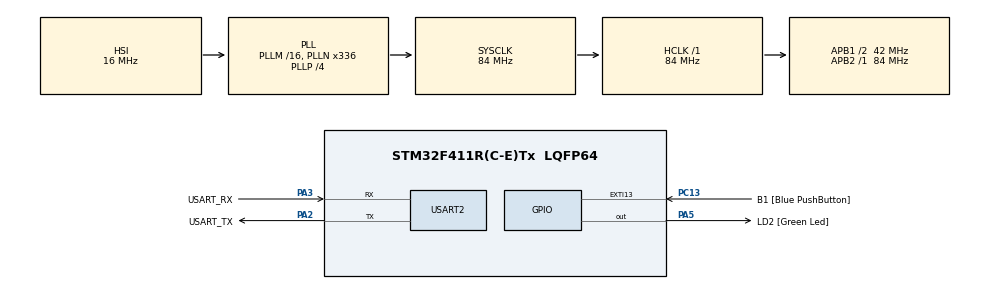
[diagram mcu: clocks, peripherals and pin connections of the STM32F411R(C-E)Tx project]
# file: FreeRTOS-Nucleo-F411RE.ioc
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Mcu.Family=STM32F4
Mcu.Name=STM32F411R(C-E)Tx
Mcu.Package=LQFP64
NVIC.PriorityGroup=NVIC_PRIORITYGROUP_4
PA13.GPIO_Label=TMS
PA13.Mode=Serial_Wire
PA13.Signal=SYS_JTMS-SWDIO
PA14.GPIO_Label=TCK
PA14.Mode=Serial_Wire
PA14.Signal=SYS_JTCK-SWCLK
PA2.GPIO_Label=USART_TX
PA2.Mode=Asynchronous
PA2.Signal=USART2_TX
PA3.GPIO_Label=USART_RX
PA3.Mode=Asynchronous
PA3.Signal=USART2_RX
PA5.GPIO_Label=LD2 [Green Led]
PA5.Signal=GPIO_Output
PB3.GPIO_Label=SWO
PB3.Signal=SYS_JTDO-SWO
PC13-ANTI_TAMP.GPIO_Label=B1 [Blue PushButton]
PC13-ANTI_TAMP.GPIO_ModeDefaultEXTI=GPIO_MODE_IT_FALLING
PC13-ANTI_TAMP.Signal=GPXTI13
PC14-OSC32_IN.Mode=LSE-External-Oscillator
PC14-OSC32_IN.Signal=RCC_OSC32_IN
PC15-OSC32_OUT.Mode=LSE-External-Oscillator
PC15-OSC32_OUT.Signal=RCC_OSC32_OUT
PH0\ -\ OSC_IN.Mode=HSE-External-Clock-Source
PH0\ -\ OSC_IN.Signal=RCC_OSC_IN
PH1\ -\ OSC_OUT.Mode=HSE-External-Clock-Source
PH1\ -\ OSC_OUT.Signal=RCC_OSC_OUT
ProjectManager.HeapSize=0x200
ProjectManager.StackSize=0x400
ProjectManager.TargetToolchain=STM32CubeIDE
RCC.48MHZClocksFreq_Value=84000000
RCC.AHBFreq_Value=84000000
RCC.APB1CLKDivider=RCC_HCLK_DIV2
RCC.APB1Freq_Value=42000000
RCC.APB1TimFreq_Value=84000000
RCC.APB2Freq_Value=84000000
RCC.APB2TimFreq_Value=84000000
RCC.CortexFreq_Value=84000000
RCC.FLatency-AdvancedSettings=FLASH_LATENCY_2
RCC.HCLKFreq_Value=84000000
RCC.HSE_VALUE=8000000
RCC.HSI_VALUE=16000000
RCC.PLLN=336
RCC.PLLP=RCC_PLLP_DIV4
RCC.SYSCLKFreq_VALUE=84000000
RCC.SYSCLKSource=RCC_SYSCLKSOURCE_PLLCLK
RCC.VCOOutputFreq_Value=336000000
USART2.VirtualMode=VM_ASYNC
board=NUCLEO-F411RE

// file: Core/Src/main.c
/* USER CODE BEGIN Header */
/**
  ******************************************************************************
  * @file           : main.c
  * @brief          : Main program body
  ******************************************************************************
  * @attention
  *
  * Copyright (c) 2024 STMicroelectronics.
  * All rights reserved.
  *
  * This software is licensed under terms that can be found in the LICENSE file
  * in the root directory of this software component.
  * If no LICENSE file comes with this software, it is provided AS-IS.
  *
  ******************************************************************************
  */
/* USER CODE END Header */
#include "main.h"

/* USER CODE BEGIN Includes */
#include "FreeRTOS.h"
#include "task.h"

/* Demo includes. */
#include "supporting_functions.h"
/* USER CODE END Includes */

/* USER CODE BEGIN PD */
/* Used as a loop counter to create a very crude delay. */
#define mainDELAY_LOOP_COUNT    ( 0xffffff )

/* The task functions. */
void vTask1( void * pvParameters );
void vTask2( void * pvParameters );
/* USER CODE END PD */

UART_HandleTypeDef huart2;

/* USER CODE BEGIN PV */
static portCHAR timerTaskTCBBuffer[128];
static portCHAR timerTaskStackBuffer[128];

/* USER CODE END PV */

void SystemClock_Config(void);
static void MX_GPIO_Init(void);
static void MX_USART2_UART_Init(void);

int main(void)
{

  /* MCU Configuration--------------------------------------------------------*/

  /* Reset of all peripherals, Initializes the Flash interface and the Systick. */
  HAL_Init();

  /* Configure the system clock */
  SystemClock_Config();

  /* Initialize all configured peripherals */
  MX_GPIO_Init();
  MX_USART2_UART_Init();
  /* USER CODE BEGIN 2 */
  /* Create one of the two tasks. */
      xTaskCreate( vTask1,   /* Pointer to the function that implements the task. */
                   "Task 1", /* Text name for the task.  This is to facilitate debugging only. */
                   1000,     /* Stack depth - most small microcontrollers will use much less stack than this. */
                   NULL,     /* We are not using the task parameter. */
                   1,        /* This task will run at priority 1. */
                   NULL );   /* We are not using the task handle. */

      /* Create the other task in exactly the same way. */
      xTaskCreate( vTask2, "Task 2", 1000, NULL, 1, NULL );

      /* Start the scheduler to start the tasks executing. */
      vTaskStartScheduler();

      /* The following line should never be reached because vTaskStartScheduler()
      *  will only return if there was not enough FreeRTOS heap memory available to
      *  create the Idle and (if configured) Timer tasks.  Heap management, and
      *  techniques for trapping heap exhaustion, are described in the book text. */

  /* USER CODE END 2 */

  /* Infinite loop */
  while (1)
  {

  }
}

void SystemClock_Config(void)
{
  RCC_OscInitTypeDef RCC_OscInitStruct = {0};
  RCC_ClkInitTypeDef RCC_ClkInitStruct = {0};

  /** Configure the main internal regulator output voltage
  */
  __HAL_RCC_PWR_CLK_ENABLE();
  __HAL_PWR_VOLTAGESCALING_CONFIG(PWR_REGULATOR_VOLTAGE_SCALE1);

  /** Initializes the RCC Oscillators according to the specified parameters
  * in the RCC_OscInitTypeDef structure.
  */
  RCC_OscInitStruct.OscillatorType = RCC_OSCILLATORTYPE_HSI;
  RCC_OscInitStruct.HSIState = RCC_HSI_ON;
  RCC_OscInitStruct.HSICalibrationValue = RCC_HSICALIBRATION_DEFAULT;
  RCC_OscInitStruct.PLL.PLLState = RCC_PLL_ON;
  RCC_OscInitStruct.PLL.PLLSource = RCC_PLLSOURCE_HSI;
  RCC_OscInitStruct.PLL.PLLM = 16;
  RCC_OscInitStruct.PLL.PLLN = 336;
  RCC_OscInitStruct.PLL.PLLP = RCC_PLLP_DIV4;
  RCC_OscInitStruct.PLL.PLLQ = 4;
  if (HAL_RCC_OscConfig(&RCC_OscInitStruct) != HAL_OK)
  {
    Error_Handler();
  }

  /** Initializes the CPU, AHB and APB buses clocks
  */
  RCC_ClkInitStruct.ClockType = RCC_CLOCKTYPE_HCLK|RCC_CLOCKTYPE_SYSCLK
                              |RCC_CLOCKTYPE_PCLK1|RCC_CLOCKTYPE_PCLK2;
  RCC_ClkInitStruct.SYSCLKSource = RCC_SYSCLKSOURCE_PLLCLK;
  RCC_ClkInitStruct.AHBCLKDivider = RCC_SYSCLK_DIV1;
  RCC_ClkInitStruct.APB1CLKDivider = RCC_HCLK_DIV2;
  RCC_ClkInitStruct.APB2CLKDivider = RCC_HCLK_DIV1;

  if (HAL_RCC_ClockConfig(&RCC_ClkInitStruct, FLASH_LATENCY_2) != HAL_OK)
  {
    Error_Handler();
  }
}

static void MX_USART2_UART_Init(void)
{

  huart2.Instance = USART2;
  huart2.Init.BaudRate = 115200;
  huart2.Init.WordLength = UART_WORDLENGTH_8B;
  huart2.Init.StopBits = UART_STOPBITS_1;
  huart2.Init.Parity = UART_PARITY_NONE;
  huart2.Init.Mode = UART_MODE_TX_RX;
  huart2.Init.HwFlowCtl = UART_HWCONTROL_NONE;
  huart2.Init.OverSampling = UART_OVERSAMPLING_16;
  if (HAL_UART_Init(&huart2) != HAL_OK)
  {
    Error_Handler();
  }

}

static void MX_GPIO_Init(void)
{
  GPIO_InitTypeDef GPIO_InitStruct = {0};

  /* GPIO Ports Clock Enable */
  __HAL_RCC_GPIOC_CLK_ENABLE();
  __HAL_RCC_GPIOH_CLK_ENABLE();
  __HAL_RCC_GPIOA_CLK_ENABLE();
  __HAL_RCC_GPIOB_CLK_ENABLE();

  /*Configure GPIO pin Output Level */
  HAL_GPIO_WritePin(LD2_GPIO_Port, LD2_Pin, GPIO_PIN_RESET);

  /*Configure GPIO pin : B1_Pin */
  GPIO_InitStruct.Pin = B1_Pin;
  GPIO_InitStruct.Mode = GPIO_MODE_IT_FALLING;
  GPIO_InitStruct.Pull = GPIO_NOPULL;
  HAL_GPIO_Init(B1_GPIO_Port, &GPIO_InitStruct);

  /*Configure GPIO pin : LD2_Pin */
  GPIO_InitStruct.Pin = LD2_Pin;
  GPIO_InitStruct.Mode = GPIO_MODE_OUTPUT_PP;
  GPIO_InitStruct.Pull = GPIO_NOPULL;
  GPIO_InitStruct.Speed = GPIO_SPEED_FREQ_LOW;
  HAL_GPIO_Init(LD2_GPIO_Port, &GPIO_InitStruct);

}

/* USER CODE BEGIN 4 */
/*-----------------------------------------------------------*/

void vTask1( void * pvParameters )
{
    const char * pcTaskName = "Task 1 is running\r\n";
    volatile uint32_t ul;

    /* As per most tasks, this task is implemented in an infinite loop. */
    for( ; ; )
    {
        /* Print out the name of this task. */
        vPrintString( pcTaskName );

        /* Delay for a period. */
        for( ul = 0; ul < mainDELAY_LOOP_COUNT; ul++ )
        {
            /* This loop is just a very crude delay implementation.  There is
             * nothing to do in here.  Later exercises will replace this crude
             * loop with a proper delay/sleep function. */
        }
    }
}
/*-----------------------------------------------------------*/

void vTask2( void * pvParameters )
{
    const char * pcTaskName = "Task 2 is running\r\n";
    volatile uint32_t ul;

    /* As per most tasks, this task is implemented in an infinite loop. */
    for( ; ; )
    {
        /* Print out the name of this task. */
        vPrintString( pcTaskName );

        /* Delay for a period. */
        for( ul = 0; ul < mainDELAY_LOOP_COUNT; ul++ )
        {
            /* This loop is just a very crude delay implementation.  There is
             * nothing to do in here.  Later exercises will replace this crude
             * loop with a proper delay/sleep function. */
        }
    }
}

/* Idle hook functions MUST be called vApplicationIdleHook(), take no parameters,
 * and return void. */
void vApplicationIdleHook( void )
{
    /* This hook function does nothing but increment a counter. */
    //ulIdleCycleCount++;
}

void vApplicationGetIdleTaskMemory( StaticTask_t **ppxIdleTaskTCBBuffer,
                                    StackType_t **ppxIdleTaskStackBuffer,
                                    uint32_t *pulIdleTaskStackSize )
{
    /* If the buffers to be provided to the Idle task are declared inside this
    function then they must be declared static - otherwise they will be allocated on
    the stack and so not exists after this function exits. */
    static StaticTask_t xIdleTaskTCB;
    static StackType_t uxIdleTaskStack[ configMINIMAL_STACK_SIZE ];

    /* Pass out a pointer to the StaticTask_t structure in which the Idle task's
    state will be stored. */
    *ppxIdleTaskTCBBuffer = &xIdleTaskTCB;

    /* Pass out the array that will be used as the Idle task's stack. */
    *ppxIdleTaskStackBuffer = uxIdleTaskStack;

    /* Pass out the size of the array pointed to by *ppxIdleTaskStackBuffer.
    Note that, as the array is necessarily of type StackType_t,
    configMINIMAL_STACK_SIZE is specified in words, not bytes. */
    *pulIdleTaskStackSize = configMINIMAL_STACK_SIZE;
}

void vApplicationGetTimerTaskMemory( StaticTask_t ** ppxTimerTaskTCBBuffer, StackType_t ** ppxTimerTaskStackBuffer, uint32_t *pulTimerTaskStackSize ){
	*ppxTimerTaskTCBBuffer = timerTaskTCBBuffer;
	*ppxTimerTaskStackBuffer = timerTaskStackBuffer;
	*pulTimerTaskStackSize = 128UL;
}
/* USER CODE END 4 */

void Error_Handler(void)
{
  __disable_irq();
  while (1)
  {
  }
}
